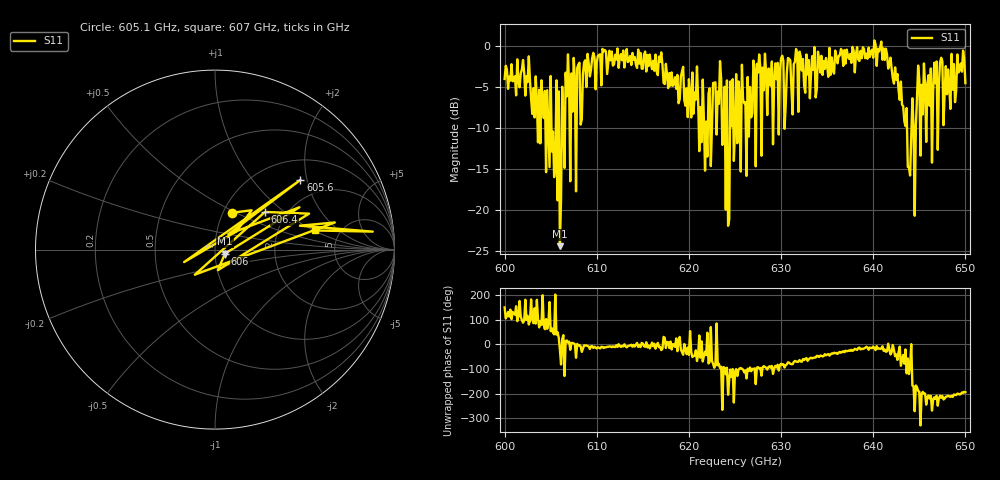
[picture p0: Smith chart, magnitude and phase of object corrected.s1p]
!Created with skrf (http://scikit-rf.org).
# GHz S MA R 50.0
!freq magS11 angS11
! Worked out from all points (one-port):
!   401 points, 600 GHz to 650 GHz, reference 50 ohm
!   lowest |S11| = -24.4 dB at 606 GHz (marker M1), VSWR 1.13, Z = 55.8 - j2.52 ohm
!   |S11| at or under -10 dB: 604.7463 GHz to 604.9291 GHz (182.8 MHz wide, 0.0302 % of centre); 605.0854 GHz to 605.5555 GHz (470.1 MHz wide, 0.0777 % of centre); 643.6667 GHz to 644.1508 GHz (484.2 MHz wide, 0.0752 % of centre) (the widest 3 of 35)
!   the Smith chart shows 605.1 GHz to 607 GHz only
!   S11 on the Smith chart (normalised r, x): 605.1 GHz: 1.10, +0.48; 605.6 GHz: 1.46, +1.83; 606 GHz: 1.12, -0.05; 606.4 GHz: 1.56, +0.74; 607 GHz: 3.29, +1.04
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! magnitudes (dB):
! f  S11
! 600 GHz  -4.1
! 602.6 GHz  -1.3
! 605.1 GHz  -12.9
! 605.6 GHz  -4.2
! 606 GHz  -24.4
! 606.2 GHz  -5.0
! 606.4 GHz  -9.1
! 607 GHz  -4.9
! 608.9 GHz  -5.1
! 612.5 GHz  -1.4
! 618.8 GHz  -3.6
! 620.6 GHz  -5.7
! 621.9 GHz  -9.3
! 623.2 GHz  -7.1
! 623.6 GHz  -12.1
! 624.1 GHz  -4.2
! 625 GHz  -10.3
! 626.5 GHz  -11.1
! 626.9 GHz  -8.3
! 628.5 GHz  -8.5
! 631.2 GHz  -8.4
! 637.5 GHz  -1.0
! 641.6 GHz  -2.8
! 642.9 GHz  -6.6
! 643.8 GHz  -14.8
! 644.2 GHz  -6.4
! 645 GHz  -4.2
! 650 GHz  -4.6
